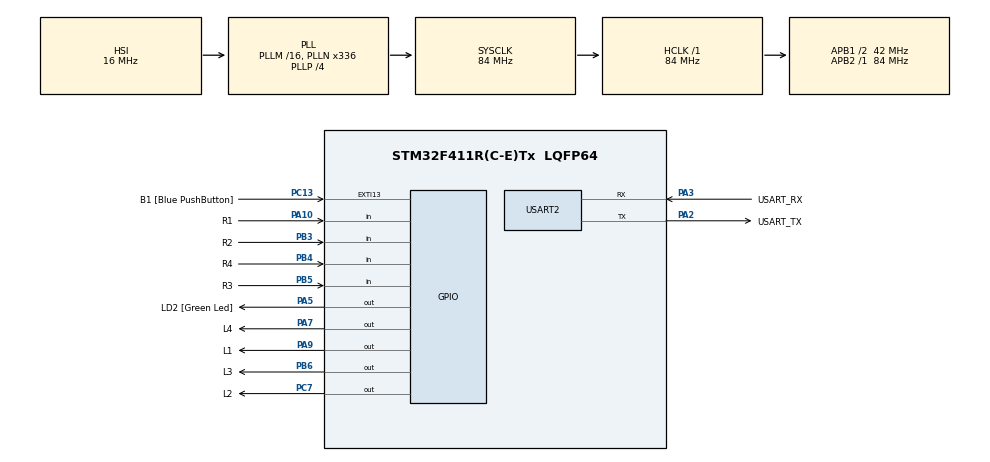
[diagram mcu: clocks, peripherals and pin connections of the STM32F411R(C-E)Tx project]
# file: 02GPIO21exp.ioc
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Mcu.Family=STM32F4
Mcu.Name=STM32F411R(C-E)Tx
Mcu.Package=LQFP64
NVIC.PriorityGroup=NVIC_PRIORITYGROUP_0
PA10.GPIO_Label=R1
PA10.GPIO_PuPd=GPIO_PULLUP
PA10.Signal=GPIO_Input
PA13.GPIO_Label=TMS
PA13.Mode=Serial_Wire
PA13.Signal=SYS_JTMS-SWDIO
PA14.GPIO_Label=TCK
PA14.Mode=Serial_Wire
PA14.Signal=SYS_JTCK-SWCLK
PA2.GPIO_Label=USART_TX
PA2.Mode=Asynchronous
PA2.Signal=USART2_TX
PA3.GPIO_Label=USART_RX
PA3.Mode=Asynchronous
PA3.Signal=USART2_RX
PA5.GPIO_Label=LD2 [Green Led]
PA5.Signal=GPIO_Output
PA7.GPIO_Label=L4
PA7.GPIO_ModeDefaultOutputPP=GPIO_MODE_OUTPUT_OD
PA7.GPIO_PuPd=GPIO_NOPULL
PA7.Signal=GPIO_Output
PA9.GPIO_Label=L1
PA9.GPIO_ModeDefaultOutputPP=GPIO_MODE_OUTPUT_OD
PA9.GPIO_PuPd=GPIO_NOPULL
PA9.Signal=GPIO_Output
PB3.GPIO_Label=R2
PB3.GPIO_PuPd=GPIO_PULLUP
PB3.Signal=GPIO_Input
PB4.GPIO_Label=R4
PB4.GPIO_PuPd=GPIO_PULLUP
PB4.Signal=GPIO_Input
PB5.GPIO_Label=R3
PB5.GPIO_PuPd=GPIO_PULLUP
PB5.Signal=GPIO_Input
PB6.GPIO_Label=L3
PB6.GPIO_ModeDefaultOutputPP=GPIO_MODE_OUTPUT_OD
PB6.GPIO_PuPd=GPIO_NOPULL
PB6.Signal=GPIO_Output
PC13-ANTI_TAMP.GPIO_Label=B1 [Blue PushButton]
PC13-ANTI_TAMP.GPIO_ModeDefaultEXTI=GPIO_MODE_IT_FALLING
PC13-ANTI_TAMP.Signal=GPXTI13
PC14-OSC32_IN.Mode=LSE-External-Oscillator
PC14-OSC32_IN.Signal=RCC_OSC32_IN
PC15-OSC32_OUT.Mode=LSE-External-Oscillator
PC15-OSC32_OUT.Signal=RCC_OSC32_OUT
PC7.GPIO_Label=L2
PC7.GPIO_ModeDefaultOutputPP=GPIO_MODE_OUTPUT_OD
PC7.GPIO_PuPd=GPIO_NOPULL
PC7.Signal=GPIO_Output
PH0\ -\ OSC_IN.Mode=HSE-External-Clock-Source
PH0\ -\ OSC_IN.Signal=RCC_OSC_IN
PH1\ -\ OSC_OUT.Mode=HSE-External-Clock-Source
PH1\ -\ OSC_OUT.Signal=RCC_OSC_OUT
ProjectManager.HeapSize=0x200
ProjectManager.StackSize=0x400
ProjectManager.TargetToolchain=STM32CubeIDE
RCC.48MHZClocksFreq_Value=84000000
RCC.AHBFreq_Value=84000000
RCC.APB1CLKDivider=RCC_HCLK_DIV2
RCC.APB1Freq_Value=42000000
RCC.APB1TimFreq_Value=84000000
RCC.APB2Freq_Value=84000000
RCC.APB2TimFreq_Value=84000000
RCC.CortexFreq_Value=84000000
RCC.FLatency-AdvancedSettings=FLASH_LATENCY_2
RCC.HCLKFreq_Value=84000000
RCC.HSE_VALUE=8000000
RCC.HSI_VALUE=16000000
RCC.PLLN=336
RCC.PLLP=RCC_PLLP_DIV4
RCC.SYSCLKFreq_VALUE=84000000
RCC.SYSCLKSource=RCC_SYSCLKSOURCE_PLLCLK
RCC.VCOOutputFreq_Value=336000000
USART2.VirtualMode=VM_ASYNC
board=NUCLEO-F411RE

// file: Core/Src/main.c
/* USER CODE BEGIN Header */
/**
 ******************************************************************************
 * @file           : main.c
 * @brief          : Main program body
 ******************************************************************************
 * @attention
 *
 * Copyright (c) 2022 STMicroelectronics.
 * All rights reserved.
 *
 * This software is licensed under terms that can be found in the LICENSE file
 * in the root directory of this software component.
 * If no LICENSE file comes with this software, it is provided AS-IS.
 *
 ******************************************************************************
 */
/* USER CODE END Header */
#include "main.h"

UART_HandleTypeDef huart2;

/* USER CODE BEGIN PV */
uint16_t Buttonstate = 0;
int one_press = 1;
enum {
	ST0, ST1, ST2, ST3, STR, STF
} State = ST0, oldstate = ST0;
int x = 0;
int logic_pass = 1;
/* USER CODE END PV */

void SystemClock_Config(void);
static void MX_GPIO_Init(void);
static void MX_USART2_UART_Init(void);
/* USER CODE BEGIN PFP */
void ButtonMatrixread();
/* USER CODE END PFP */

int main(void) {

	/* MCU Configuration--------------------------------------------------------*/

	/* Reset of all peripherals, Initializes the Flash interface and the Systick. */
	HAL_Init();

	/* Configure the system clock */
	SystemClock_Config();

	/* Initialize all configured peripherals */
	MX_GPIO_Init();
	MX_USART2_UART_Init();

	/* Infinite loop */
	/* USER CODE BEGIN WHILE */
	HAL_GPIO_WritePin(GPIOA, GPIO_PIN_5, 1);
	while (1) {
		ButtonMatrixread();
		switch (State) { //state machine
		default:
		case ST0:
			x = 0;
			if (logic_pass == 0 && Buttonstate == 0) {
				logic_pass = 1;
			}

			if (Buttonstate == 0b100000 && logic_pass == 1) {
				logic_pass = 0;
				oldstate = State;
				State = ST1;
			} else if (Buttonstate != 0 && Buttonstate != 1
					&& logic_pass == 1) {
				logic_pass = 0;
				oldstate = State;
				State = STR;
			}
			break;
		case ST1:
			x = 1;

			if (logic_pass == 0 && Buttonstate == 0) {
				logic_pass = 1;
			}
			if (Buttonstate == 0b10 && logic_pass == 1) {
				logic_pass = 0;
				oldstate = State;
				State = ST2;
			} else if (Buttonstate == 0b10000 && logic_pass == 1) {
				logic_pass = 0;
				State = oldstate;
			} else if (Buttonstate != 0 && logic_pass == 1) {
				logic_pass = 0;
				oldstate = State;
				State = STR;
			}
			break;
		case ST2:
			x = 2;
			if (logic_pass == 0 && Buttonstate == 0) {
				logic_pass = 1;
			}
			if (Buttonstate == 0b100000 && logic_pass == 1) {
				logic_pass = 0;
				oldstate = State;
				State = ST3;
			} else if (Buttonstate == 0b10000 && logic_pass == 1) {
				logic_pass = 0;
				State = oldstate;
			} else if (Buttonstate != 0 && logic_pass == 1) {
				logic_pass = 0;
				oldstate = State;
				State = STR;
			}
			break;
		case ST3:
			x = 3;
			if (logic_pass == 0 && Buttonstate == 0) {
				logic_pass = 1;
			}
			if (Buttonstate == 0b1000 && logic_pass == 1) {
				logic_pass = 0;
				oldstate = State;
				State = STF;
				HAL_GPIO_WritePin(GPIOA, GPIO_PIN_5, 0);
			} else if (Buttonstate == 0b10000 && logic_pass == 1) {
				logic_pass = 0;
				State = oldstate;
			} else if (Buttonstate != 0 && logic_pass == 1) {
				logic_pass = 0;
				oldstate = State;
				State = STR;
			}
			break;
		case STF:
			x = 4;
			if (logic_pass == 0 && Buttonstate == 0) {
				logic_pass = 1;
			}

			if (Buttonstate == 0b1 && logic_pass == 1) {
				logic_pass = 0;
				oldstate = State;
				State = ST0;
				HAL_GPIO_WritePin(GPIOA, GPIO_PIN_5, 1);
			} else if (Buttonstate == 0b10000 && logic_pass == 1) {
				logic_pass = 0;
				State = oldstate;
			}
			break;
		case STR:
			x = 5;
			if (logic_pass == 0 && Buttonstate == 0) {
				logic_pass = 1;
			}
			if (Buttonstate == 0b1 && logic_pass == 1) {
				logic_pass = 0;
				oldstate = State;
				State = ST0;
			} else if (Buttonstate == 0b10000 && logic_pass == 1) {
				logic_pass = 0;
				State = oldstate;
			}
			break;
		}
		/* USER CODE END WHILE */

	}
}

void SystemClock_Config(void) {
	RCC_OscInitTypeDef RCC_OscInitStruct = { 0 };
	RCC_ClkInitTypeDef RCC_ClkInitStruct = { 0 };

	/** Configure the main internal regulator output voltage
	 */
	__HAL_RCC_PWR_CLK_ENABLE();
	__HAL_PWR_VOLTAGESCALING_CONFIG(PWR_REGULATOR_VOLTAGE_SCALE1);
	/** Initializes the RCC Oscillators according to the specified parameters
	 * in the RCC_OscInitTypeDef structure.
	 */
	RCC_OscInitStruct.OscillatorType = RCC_OSCILLATORTYPE_HSI;
	RCC_OscInitStruct.HSIState = RCC_HSI_ON;
	RCC_OscInitStruct.HSICalibrationValue = RCC_HSICALIBRATION_DEFAULT;
	RCC_OscInitStruct.PLL.PLLState = RCC_PLL_ON;
	RCC_OscInitStruct.PLL.PLLSource = RCC_PLLSOURCE_HSI;
	RCC_OscInitStruct.PLL.PLLM = 16;
	RCC_OscInitStruct.PLL.PLLN = 336;
	RCC_OscInitStruct.PLL.PLLP = RCC_PLLP_DIV4;
	RCC_OscInitStruct.PLL.PLLQ = 4;
	if (HAL_RCC_OscConfig(&RCC_OscInitStruct) != HAL_OK) {
		Error_Handler();
	}
	/** Initializes the CPU, AHB and APB buses clocks
	 */
	RCC_ClkInitStruct.ClockType = RCC_CLOCKTYPE_HCLK | RCC_CLOCKTYPE_SYSCLK
			| RCC_CLOCKTYPE_PCLK1 | RCC_CLOCKTYPE_PCLK2;
	RCC_ClkInitStruct.SYSCLKSource = RCC_SYSCLKSOURCE_PLLCLK;
	RCC_ClkInitStruct.AHBCLKDivider = RCC_SYSCLK_DIV1;
	RCC_ClkInitStruct.APB1CLKDivider = RCC_HCLK_DIV2;
	RCC_ClkInitStruct.APB2CLKDivider = RCC_HCLK_DIV1;

	if (HAL_RCC_ClockConfig(&RCC_ClkInitStruct, FLASH_LATENCY_2) != HAL_OK) {
		Error_Handler();
	}
}

static void MX_USART2_UART_Init(void) {

	huart2.Instance = USART2;
	huart2.Init.BaudRate = 115200;
	huart2.Init.WordLength = UART_WORDLENGTH_8B;
	huart2.Init.StopBits = UART_STOPBITS_1;
	huart2.Init.Parity = UART_PARITY_NONE;
	huart2.Init.Mode = UART_MODE_TX_RX;
	huart2.Init.HwFlowCtl = UART_HWCONTROL_NONE;
	huart2.Init.OverSampling = UART_OVERSAMPLING_16;
	if (HAL_UART_Init(&huart2) != HAL_OK) {
		Error_Handler();
	}

}

static void MX_GPIO_Init(void) {
	GPIO_InitTypeDef GPIO_InitStruct = { 0 };

	/* GPIO Ports Clock Enable */
	__HAL_RCC_GPIOC_CLK_ENABLE();
	__HAL_RCC_GPIOH_CLK_ENABLE();
	__HAL_RCC_GPIOA_CLK_ENABLE();
	__HAL_RCC_GPIOB_CLK_ENABLE();

	/*Configure GPIO pin Output Level */
	HAL_GPIO_WritePin(GPIOA, LD2_Pin | L4_Pin | L1_Pin, GPIO_PIN_RESET);

	/*Configure GPIO pin Output Level */
	HAL_GPIO_WritePin(L2_GPIO_Port, L2_Pin, GPIO_PIN_RESET);

	/*Configure GPIO pin Output Level */
	HAL_GPIO_WritePin(L3_GPIO_Port, L3_Pin, GPIO_PIN_RESET);

	/*Configure GPIO pin : B1_Pin */
	GPIO_InitStruct.Pin = B1_Pin;
	GPIO_InitStruct.Mode = GPIO_MODE_IT_FALLING;
	GPIO_InitStruct.Pull = GPIO_NOPULL;
	HAL_GPIO_Init(B1_GPIO_Port, &GPIO_InitStruct);

	/*Configure GPIO pin : LD2_Pin */
	GPIO_InitStruct.Pin = LD2_Pin;
	GPIO_InitStruct.Mode = GPIO_MODE_OUTPUT_PP;
	GPIO_InitStruct.Pull = GPIO_NOPULL;
	GPIO_InitStruct.Speed = GPIO_SPEED_FREQ_LOW;
	HAL_GPIO_Init(LD2_GPIO_Port, &GPIO_InitStruct);

	/*Configure GPIO pins : L4_Pin L1_Pin */
	GPIO_InitStruct.Pin = L4_Pin | L1_Pin;
	GPIO_InitStruct.Mode = GPIO_MODE_OUTPUT_OD;
	GPIO_InitStruct.Pull = GPIO_NOPULL;
	GPIO_InitStruct.Speed = GPIO_SPEED_FREQ_LOW;
	HAL_GPIO_Init(GPIOA, &GPIO_InitStruct);

	/*Configure GPIO pin : L2_Pin */
	GPIO_InitStruct.Pin = L2_Pin;
	GPIO_InitStruct.Mode = GPIO_MODE_OUTPUT_OD;
	GPIO_InitStruct.Pull = GPIO_NOPULL;
	GPIO_InitStruct.Speed = GPIO_SPEED_FREQ_LOW;
	HAL_GPIO_Init(L2_GPIO_Port, &GPIO_InitStruct);

	/*Configure GPIO pin : R1_Pin */
	GPIO_InitStruct.Pin = R1_Pin;
	GPIO_InitStruct.Mode = GPIO_MODE_INPUT;
	GPIO_InitStruct.Pull = GPIO_PULLUP;
	HAL_GPIO_Init(R1_GPIO_Port, &GPIO_InitStruct);

	/*Configure GPIO pins : R2_Pin R4_Pin R3_Pin */
	GPIO_InitStruct.Pin = R2_Pin | R4_Pin | R3_Pin;
	GPIO_InitStruct.Mode = GPIO_MODE_INPUT;
	GPIO_InitStruct.Pull = GPIO_PULLUP;
	HAL_GPIO_Init(GPIOB, &GPIO_InitStruct);

	/*Configure GPIO pin : L3_Pin */
	GPIO_InitStruct.Pin = L3_Pin;
	GPIO_InitStruct.Mode = GPIO_MODE_OUTPUT_OD;
	GPIO_InitStruct.Pull = GPIO_NOPULL;
	GPIO_InitStruct.Speed = GPIO_SPEED_FREQ_LOW;
	HAL_GPIO_Init(L3_GPIO_Port, &GPIO_InitStruct);

}

/* USER CODE BEGIN 4 */
GPIO_TypeDef *ButtonMatrixPortR[4] = { R1_GPIO_Port, R2_GPIO_Port, R3_GPIO_Port,
R4_GPIO_Port };
uint16_t ButtonMatrixPinR[4] = { R1_Pin, R2_Pin, R3_Pin, R4_Pin };

GPIO_TypeDef *ButtonMatrixPortL[4] = { L1_GPIO_Port, L2_GPIO_Port, L3_GPIO_Port,
L4_GPIO_Port };
uint16_t ButtonMatrixPinL[4] = { L1_Pin, L2_Pin, L3_Pin, L4_Pin };

void ButtonMatrixread() {
	static uint32_t timestamp = 0;
	static uint8_t CurrentL = 0;
	if (CurrentL == 0) {
		one_press = 2;
	}
	if (HAL_GetTick() - timestamp >= 50) {
		timestamp = HAL_GetTick();
		for (int i = 0; i < 4; i++) {

			if (HAL_GPIO_ReadPin(ButtonMatrixPortR[i], ButtonMatrixPinR[i])
					== GPIO_PIN_RESET) // Button press
					{
				//set bit i to 1
				//i calculate form i(R) and CurrentL to set bit that relate to 4x4 button
				Buttonstate |= 1 << (i + (CurrentL * 4));
				one_press = one_press - 1;
			} else {
				Buttonstate &= ~(1 << (i + (CurrentL * 4)));

			}
		}
		HAL_GPIO_WritePin(ButtonMatrixPortL[CurrentL],
				ButtonMatrixPinL[CurrentL], GPIO_PIN_SET);
		uint8_t nextL = (CurrentL + 1) % 4;
		HAL_GPIO_WritePin(ButtonMatrixPortL[nextL], ButtonMatrixPinL[nextL],
				GPIO_PIN_RESET);
		CurrentL = nextL;

	}
}
/* USER CODE END 4 */

void Error_Handler(void) {
	__disable_irq();
	while (1) {
	}
}
